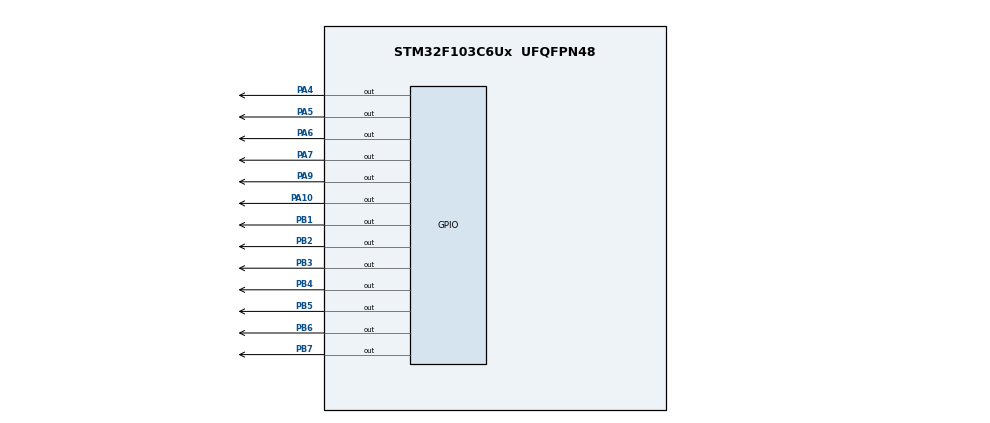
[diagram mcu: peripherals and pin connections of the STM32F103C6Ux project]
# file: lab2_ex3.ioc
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Mcu.Family=STM32F1
Mcu.Name=STM32F103C6Ux
Mcu.Package=UFQFPN48
NVIC.PriorityGroup=NVIC_PRIORITYGROUP_4
NVIC.TIM2_IRQn=true\:0\:0\:false\:false\:true\:true\:true
PA10.Signal=GPIO_Output
PA4.Signal=GPIO_Output
PA5.Signal=GPIO_Output
PA6.Signal=GPIO_Output
PA7.Signal=GPIO_Output
PA9.Signal=GPIO_Output
PB1.Signal=GPIO_Output
PB2.Signal=GPIO_Output
PB3.Signal=GPIO_Output
PB4.Signal=GPIO_Output
PB5.Signal=GPIO_Output
PB6.Signal=GPIO_Output
PB7.Signal=GPIO_Output
ProjectManager.HeapSize=0x200
ProjectManager.StackSize=0x400
ProjectManager.TargetToolchain=STM32CubeIDE
RCC.APB1Freq_Value=8000000
RCC.APB2Freq_Value=8000000
TIM2.Period=9
TIM2.Prescaler=7999
VP_SYS_VS_ND.Mode=No_Debug
VP_TIM2_VS_ClockSourceINT.Mode=Internal
board=custom

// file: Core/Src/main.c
/* USER CODE BEGIN Header */
/**
  ******************************************************************************
  * @file           : main.c
  * @brief          : Main program body
  ******************************************************************************
  * @attention
  *
  * <h2><center>&copy; Copyright (c) 2022 STMicroelectronics.
  * All rights reserved.</center></h2>
  *
  * This software component is licensed by ST under BSD 3-Clause license,
  * the "License"; You may not use this file except in compliance with the
  * License. You may obtain a copy of the License at:
  *                        opensource.org/licenses/BSD-3-Clause
  *
  ******************************************************************************
  */
/* USER CODE END Header */
#include "main.h"

TIM_HandleTypeDef htim2;

void SystemClock_Config(void);
static void MX_GPIO_Init(void);
static void MX_TIM2_Init(void);

int main(void)
{

  /* MCU Configuration--------------------------------------------------------*/

  /* Reset of all peripherals, Initializes the Flash interface and the Systick. */
  HAL_Init();

  /* Configure the system clock */
  SystemClock_Config();

  /* Initialize all configured peripherals */
  MX_GPIO_Init();
  MX_TIM2_Init();
  /* USER CODE BEGIN 2 */
  HAL_TIM_Base_Start_IT (& htim2 );
  /* USER CODE END 2 */

  /* Infinite loop */
  while (1)
  {

  }
}

void SystemClock_Config(void)
{
  RCC_OscInitTypeDef RCC_OscInitStruct = {0};
  RCC_ClkInitTypeDef RCC_ClkInitStruct = {0};

  /** Initializes the RCC Oscillators according to the specified parameters
  * in the RCC_OscInitTypeDef structure.
  */
  RCC_OscInitStruct.OscillatorType = RCC_OSCILLATORTYPE_HSI;
  RCC_OscInitStruct.HSIState = RCC_HSI_ON;
  RCC_OscInitStruct.HSICalibrationValue = RCC_HSICALIBRATION_DEFAULT;
  RCC_OscInitStruct.PLL.PLLState = RCC_PLL_NONE;
  if (HAL_RCC_OscConfig(&RCC_OscInitStruct) != HAL_OK)
  {
    Error_Handler();
  }
  /** Initializes the CPU, AHB and APB buses clocks
  */
  RCC_ClkInitStruct.ClockType = RCC_CLOCKTYPE_HCLK|RCC_CLOCKTYPE_SYSCLK
                              |RCC_CLOCKTYPE_PCLK1|RCC_CLOCKTYPE_PCLK2;
  RCC_ClkInitStruct.SYSCLKSource = RCC_SYSCLKSOURCE_HSI;
  RCC_ClkInitStruct.AHBCLKDivider = RCC_SYSCLK_DIV1;
  RCC_ClkInitStruct.APB1CLKDivider = RCC_HCLK_DIV1;
  RCC_ClkInitStruct.APB2CLKDivider = RCC_HCLK_DIV1;

  if (HAL_RCC_ClockConfig(&RCC_ClkInitStruct, FLASH_LATENCY_0) != HAL_OK)
  {
    Error_Handler();
  }
}

static void MX_TIM2_Init(void)
{

  TIM_ClockConfigTypeDef sClockSourceConfig = {0};
  TIM_MasterConfigTypeDef sMasterConfig = {0};

  htim2.Instance = TIM2;
  htim2.Init.Prescaler = 7999;
  htim2.Init.CounterMode = TIM_COUNTERMODE_UP;
  htim2.Init.Period = 9;
  htim2.Init.ClockDivision = TIM_CLOCKDIVISION_DIV1;
  htim2.Init.AutoReloadPreload = TIM_AUTORELOAD_PRELOAD_DISABLE;
  if (HAL_TIM_Base_Init(&htim2) != HAL_OK)
  {
    Error_Handler();
  }
  sClockSourceConfig.ClockSource = TIM_CLOCKSOURCE_INTERNAL;
  if (HAL_TIM_ConfigClockSource(&htim2, &sClockSourceConfig) != HAL_OK)
  {
    Error_Handler();
  }
  sMasterConfig.MasterOutputTrigger = TIM_TRGO_RESET;
  sMasterConfig.MasterSlaveMode = TIM_MASTERSLAVEMODE_DISABLE;
  if (HAL_TIMEx_MasterConfigSynchronization(&htim2, &sMasterConfig) != HAL_OK)
  {
    Error_Handler();
  }

}

static void MX_GPIO_Init(void)
{
  GPIO_InitTypeDef GPIO_InitStruct = {0};

  /* GPIO Ports Clock Enable */
  __HAL_RCC_GPIOA_CLK_ENABLE();
  __HAL_RCC_GPIOB_CLK_ENABLE();

  /*Configure GPIO pin Output Level */
  HAL_GPIO_WritePin(GPIOA, GPIO_PIN_4|GPIO_PIN_5|GPIO_PIN_6|GPIO_PIN_7
                          |GPIO_PIN_9|GPIO_PIN_10, GPIO_PIN_RESET);

  /*Configure GPIO pin Output Level */
  HAL_GPIO_WritePin(GPIOB, GPIO_PIN_1|GPIO_PIN_2|GPIO_PIN_3|GPIO_PIN_4
                          |GPIO_PIN_5|GPIO_PIN_6|GPIO_PIN_7, GPIO_PIN_RESET);

  /*Configure GPIO pins : PA4 PA5 PA6 PA7
                           PA9 PA10 */
  GPIO_InitStruct.Pin = GPIO_PIN_4|GPIO_PIN_5|GPIO_PIN_6|GPIO_PIN_7
                          |GPIO_PIN_9|GPIO_PIN_10;
  GPIO_InitStruct.Mode = GPIO_MODE_OUTPUT_PP;
  GPIO_InitStruct.Pull = GPIO_NOPULL;
  GPIO_InitStruct.Speed = GPIO_SPEED_FREQ_LOW;
  HAL_GPIO_Init(GPIOA, &GPIO_InitStruct);

  /*Configure GPIO pins : PB1 PB2 PB3 PB4
                           PB5 PB6 PB7 */
  GPIO_InitStruct.Pin = GPIO_PIN_1|GPIO_PIN_2|GPIO_PIN_3|GPIO_PIN_4
                          |GPIO_PIN_5|GPIO_PIN_6|GPIO_PIN_7;
  GPIO_InitStruct.Mode = GPIO_MODE_OUTPUT_PP;
  GPIO_InitStruct.Pull = GPIO_NOPULL;
  GPIO_InitStruct.Speed = GPIO_SPEED_FREQ_LOW;
  HAL_GPIO_Init(GPIOB, &GPIO_InitStruct);

}

/* USER CODE BEGIN 4 */
void display7SEG (int num){
	switch (num){
	case 0 : {
		 HAL_GPIO_WritePin (GPIOB , GPIO_PIN_1 , GPIO_PIN_RESET );
			  	  HAL_GPIO_WritePin (GPIOB , GPIO_PIN_2 , GPIO_PIN_RESET );
			  	  HAL_GPIO_WritePin (GPIOB , GPIO_PIN_3 , GPIO_PIN_RESET );
			  	  HAL_GPIO_WritePin (GPIOB , GPIO_PIN_4 , GPIO_PIN_RESET );
			  	  HAL_GPIO_WritePin (GPIOB , GPIO_PIN_5 , GPIO_PIN_RESET );
			  	  HAL_GPIO_WritePin (GPIOB , GPIO_PIN_6 , GPIO_PIN_RESET );
			  	  HAL_GPIO_WritePin (GPIOB , GPIO_PIN_7 , GPIO_PIN_SET );

		break;
	}
	case 1 :{
		  HAL_GPIO_WritePin (GPIOB , GPIO_PIN_1 , GPIO_PIN_SET );
			  	 HAL_GPIO_WritePin (GPIOB , GPIO_PIN_2 , GPIO_PIN_RESET );
			  	 HAL_GPIO_WritePin (GPIOB , GPIO_PIN_3 , GPIO_PIN_RESET );
			  	 HAL_GPIO_WritePin (GPIOB , GPIO_PIN_4 , GPIO_PIN_SET );
			  	 HAL_GPIO_WritePin (GPIOB , GPIO_PIN_5 , GPIO_PIN_SET );
			  	 HAL_GPIO_WritePin (GPIOB , GPIO_PIN_6 , GPIO_PIN_SET );
			  	 HAL_GPIO_WritePin (GPIOB , GPIO_PIN_7 , GPIO_PIN_SET );
		break;
	}
	case 2  :{
		HAL_GPIO_WritePin (GPIOB , GPIO_PIN_1 , GPIO_PIN_RESET );
	  	 HAL_GPIO_WritePin (GPIOB , GPIO_PIN_2 , GPIO_PIN_RESET );
	  	 HAL_GPIO_WritePin (GPIOB , GPIO_PIN_3 , GPIO_PIN_SET );
	  	 HAL_GPIO_WritePin (GPIOB , GPIO_PIN_4 , GPIO_PIN_RESET );
	  	 HAL_GPIO_WritePin (GPIOB , GPIO_PIN_5 , GPIO_PIN_RESET );
	  	 HAL_GPIO_WritePin (GPIOB , GPIO_PIN_6 , GPIO_PIN_SET );
	  	 HAL_GPIO_WritePin (GPIOB , GPIO_PIN_7 , GPIO_PIN_RESET );
		break;}
	case 3 :{
		 HAL_GPIO_WritePin (GPIOB , GPIO_PIN_1 , GPIO_PIN_RESET );
		  	  	 	 HAL_GPIO_WritePin (GPIOB , GPIO_PIN_2 , GPIO_PIN_RESET );
		  	  	 	 HAL_GPIO_WritePin (GPIOB , GPIO_PIN_3 , GPIO_PIN_RESET );
		  	  	 	 HAL_GPIO_WritePin (GPIOB , GPIO_PIN_4 , GPIO_PIN_RESET );
		  	  	 	 HAL_GPIO_WritePin (GPIOB , GPIO_PIN_5 , GPIO_PIN_SET );
		  	  	 	 HAL_GPIO_WritePin (GPIOB , GPIO_PIN_6 , GPIO_PIN_SET );
		  	  	 	 HAL_GPIO_WritePin (GPIOB , GPIO_PIN_7 , GPIO_PIN_RESET );

		break;}
	case 4  :{
		HAL_GPIO_WritePin (GPIOB , GPIO_PIN_1 , GPIO_PIN_SET );
			  	  	 		 	 HAL_GPIO_WritePin (GPIOB , GPIO_PIN_2 , GPIO_PIN_RESET );
			  	  	 		 	 HAL_GPIO_WritePin (GPIOB , GPIO_PIN_3 , GPIO_PIN_RESET );
			  	  	 		 	 HAL_GPIO_WritePin (GPIOB , GPIO_PIN_4 , GPIO_PIN_SET );
			  	  	 		 	 HAL_GPIO_WritePin (GPIOB , GPIO_PIN_5 , GPIO_PIN_SET );
			  	  	 		 	 HAL_GPIO_WritePin (GPIOB , GPIO_PIN_6 , GPIO_PIN_RESET );
			  	  	 		 	 HAL_GPIO_WritePin (GPIOB , GPIO_PIN_7 , GPIO_PIN_RESET );
			  	  	 	HAL_Delay(1000);
		break;}
	case 5  :{
		 HAL_GPIO_WritePin (GPIOB , GPIO_PIN_1 , GPIO_PIN_RESET );
			  	  		 		 	 HAL_GPIO_WritePin (GPIOB , GPIO_PIN_2 , GPIO_PIN_SET );
			  	  		 		 	 HAL_GPIO_WritePin (GPIOB , GPIO_PIN_3 , GPIO_PIN_RESET );
			  	  		 		 	 HAL_GPIO_WritePin (GPIOB , GPIO_PIN_4 , GPIO_PIN_RESET );
			  	  		 		 	 HAL_GPIO_WritePin (GPIOB , GPIO_PIN_5 , GPIO_PIN_SET );
			  	  		 		 	 HAL_GPIO_WritePin (GPIOB , GPIO_PIN_6 , GPIO_PIN_RESET );
			  	  		 		 	 HAL_GPIO_WritePin (GPIOB , GPIO_PIN_7 , GPIO_PIN_RESET );
			  	  		 		 	 HAL_Delay(1000);

		break;}
	case 6  :{
		 HAL_GPIO_WritePin (GPIOB , GPIO_PIN_1 , GPIO_PIN_RESET );
			  	  	 	 HAL_GPIO_WritePin (GPIOB , GPIO_PIN_2 , GPIO_PIN_SET );
			  	  	 	HAL_GPIO_WritePin (GPIOB , GPIO_PIN_3 , GPIO_PIN_RESET );
			  	  	 		 	 HAL_GPIO_WritePin (GPIOB , GPIO_PIN_4 , GPIO_PIN_RESET );
			  	  	 		 	 HAL_GPIO_WritePin (GPIOB , GPIO_PIN_5 , GPIO_PIN_RESET );
			  	  	 		 	 HAL_GPIO_WritePin (GPIOB , GPIO_PIN_6 , GPIO_PIN_RESET );
			  	  	 		 	 HAL_GPIO_WritePin (GPIOB , GPIO_PIN_7 , GPIO_PIN_RESET );
			  	  	 		 	 HAL_Delay(1000);
		break;}
	case 7  :{
		 HAL_GPIO_WritePin (GPIOB, GPIO_PIN_1 , GPIO_PIN_RESET );
			  	  	 			 	 HAL_GPIO_WritePin (GPIOB, GPIO_PIN_2 , GPIO_PIN_RESET );
			  	  	 			 	 HAL_GPIO_WritePin (GPIOB , GPIO_PIN_3 , GPIO_PIN_RESET );
			  	  	 			 	 HAL_GPIO_WritePin (GPIOB , GPIO_PIN_4 , GPIO_PIN_SET );
			  	  	 			 	 HAL_GPIO_WritePin (GPIOB , GPIO_PIN_5 , GPIO_PIN_SET );
			  	  	 			 	 HAL_GPIO_WritePin (GPIOB , GPIO_PIN_6 , GPIO_PIN_SET );
			  	  	 			 	 HAL_GPIO_WritePin (GPIOB , GPIO_PIN_7 , GPIO_PIN_SET );
			  	  	 			 	 HAL_Delay(1000);
		break;}
	case 8  :{
		 HAL_GPIO_WritePin (GPIOB , GPIO_PIN_1 , GPIO_PIN_RESET );
			  	  	 				 	 HAL_GPIO_WritePin (GPIOB , GPIO_PIN_2 , GPIO_PIN_RESET );
			  	  	 				 	 HAL_GPIO_WritePin (GPIOB , GPIO_PIN_3 , GPIO_PIN_RESET );
			  	  	 				 	 HAL_GPIO_WritePin (GPIOB , GPIO_PIN_4 , GPIO_PIN_RESET );
			  	  	 				 	 HAL_GPIO_WritePin (GPIOB , GPIO_PIN_5 , GPIO_PIN_RESET );
			  	  	 				 	 HAL_GPIO_WritePin (GPIOB , GPIO_PIN_6 , GPIO_PIN_RESET );
			  	  	 				 	 HAL_GPIO_WritePin (GPIOB , GPIO_PIN_7 , GPIO_PIN_RESET );
			  	  	 				 	 HAL_Delay(1000);
		break;}
	case 9 :{
		 HAL_GPIO_WritePin (GPIOB , GPIO_PIN_1 , GPIO_PIN_RESET );
			  	  	 					 	 HAL_GPIO_WritePin (GPIOB , GPIO_PIN_2 , GPIO_PIN_RESET );
			  	  	 					 	 HAL_GPIO_WritePin (GPIOB , GPIO_PIN_3 , GPIO_PIN_RESET );
			  	  	 					 	 HAL_GPIO_WritePin (GPIOB , GPIO_PIN_4 , GPIO_PIN_SET );
			  	  	 					 	 HAL_GPIO_WritePin (GPIOB , GPIO_PIN_5 , GPIO_PIN_SET );
			  	  	 					 	 HAL_GPIO_WritePin (GPIOB , GPIO_PIN_6 , GPIO_PIN_RESET );
			  	  	 					 	 HAL_GPIO_WritePin (GPIOB , GPIO_PIN_7 , GPIO_PIN_RESET );
			  	  	 					 	 HAL_Delay(1000);

			  	  	 					 break;}
	default :{break;}

	}
}
const int MAX_LED = 4;
int index_led = 0;
int led_buffer [4] = {1, 2, 3, 4};
void update7SEG ( int index ){
	switch ( index ){
	case 0:
		 HAL_GPIO_WritePin (GPIOA , GPIO_PIN_7 , GPIO_PIN_SET );
		 HAL_GPIO_WritePin (GPIOA , GPIO_PIN_6 , GPIO_PIN_RESET );
		 HAL_GPIO_WritePin (GPIOA , GPIO_PIN_8 , GPIO_PIN_SET );
		 HAL_GPIO_WritePin (GPIOA , GPIO_PIN_9 , GPIO_PIN_SET );
		display7SEG(led_buffer[0]);
		break;
	case 1:
		 HAL_GPIO_WritePin (GPIOA , GPIO_PIN_7 , GPIO_PIN_RESET );
			 HAL_GPIO_WritePin (GPIOA , GPIO_PIN_6 , GPIO_PIN_SET );
			 HAL_GPIO_WritePin (GPIOA , GPIO_PIN_8 , GPIO_PIN_SET );
			 HAL_GPIO_WritePin (GPIOA , GPIO_PIN_9 , GPIO_PIN_SET );
			display7SEG(led_buffer[1]);
		break;
	case 2:
		 HAL_GPIO_WritePin (GPIOA , GPIO_PIN_7 , GPIO_PIN_SET );
			 HAL_GPIO_WritePin (GPIOA , GPIO_PIN_6 , GPIO_PIN_SET );
			 HAL_GPIO_WritePin (GPIOA , GPIO_PIN_8 , GPIO_PIN_RESET );
			 HAL_GPIO_WritePin (GPIOA , GPIO_PIN_9 , GPIO_PIN_SET );
			display7SEG(led_buffer[2]);
		break;
	case 3:
		 HAL_GPIO_WritePin (GPIOA , GPIO_PIN_7 , GPIO_PIN_SET );
			 HAL_GPIO_WritePin (GPIOA , GPIO_PIN_6 , GPIO_PIN_SET );
			 HAL_GPIO_WritePin (GPIOA , GPIO_PIN_8 , GPIO_PIN_SET );
			 HAL_GPIO_WritePin (GPIOA , GPIO_PIN_9 , GPIO_PIN_RESET );
			display7SEG(led_buffer[3]);
		break;
	default:
		break;
	}
}
int counter = 200;
void HAL_TIM_PeriodElapsedCallback ( TIM_HandleTypeDef * htim )
{
	counter--;
	if (counter <= 200 && counter >= 151){
	update7SEG(0);
	}
	if (counter <= 150 && counter >= 101){
	update7SEG(1);
	}
	if (counter <= 100 && counter >= 51){
		update7SEG(2);
		}
	if (counter <= 50 && counter >= 0){
		update7SEG(3);
		}
	if (counter == 0){counter = 200;}
}
/* USER CODE END 4 */

void Error_Handler(void)
{
  __disable_irq();
  while (1)
  {
  }
}

/************************ (C) COPYRIGHT STMicroelectronics *****END OF FILE****/
